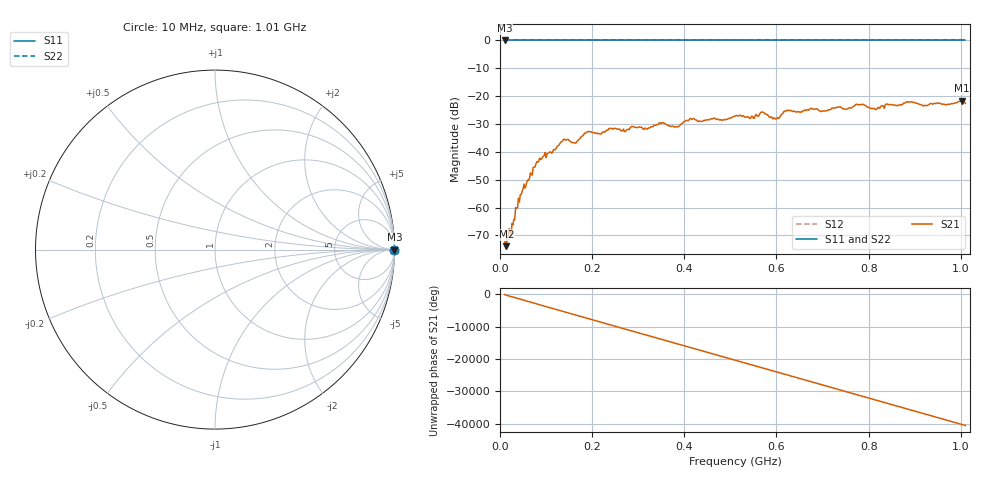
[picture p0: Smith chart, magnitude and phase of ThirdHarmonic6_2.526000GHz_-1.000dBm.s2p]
! 8/17/2025 5:00:31 AM
! C:\ANRITSUVNA\TEMP\TEMP.S2P
! CHANNEL.1
! TR.MEASUREMENT
! RAW.DATA
! RF.CORRECTION.OFF
! AVERAGING.OFF
! IF.BANDWIDTH: 5KHZ
! SWEEPTYPE:  FREQ.SWEEP(Linear)
! Reference Plane Port Info
! PORT:  PORT1  PORT2
! DISTANCE:  0  m  0  m
! TIME:  0  s  0  s
! PHASE.OFFSET:  0  deg.  0  deg.
! LOSS:  0  dB  0  dB
! REF.LOSS:  0  dB  0  dB
! REF.FREQ:  0  Hz  0  Hz
! Power Info
! POWER:  -20  dBm  -20  dBm
! EFF.POWER:  -20  dBm  -20  dBm
! SOURCE.ATTEN:  0  dB  0  dB
! TEST.ATTEN:  0  dB  0  dB
# GHZ S RI R 50.0
! FREQ.GHZ  S11RE  S11IM  S21RE  S21IM  S12RE  S12IM  S22RE  S22IM
!; PortSelection: Port_12
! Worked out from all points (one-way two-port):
!   501 points, 10 MHz to 1.01 GHz, reference 50 ohm
!   highest |S21| = -21.64 dB at 1.002 GHz (marker M1); lowest = -73.9 dB at 14 MHz (marker M2)
!   lowest |S11| = 0.0 dB at 10 MHz (marker M3)
!   |S11| at or under -10 dB: nowhere
!   |S22| runs from 0.0 to 0.0 dB; largest |S21 - S12| = 1.1
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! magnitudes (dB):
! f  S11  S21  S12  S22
! 10 MHz  0.0  -72.4  0.0  0.0
! 14 MHz  0.0  -73.9  0.0  0.0
! 28 MHz  0.0  -66.3  0.0  0.0
! 48 MHz  0.0  -54.1  0.0  0.0
! 82 MHz  0.0  -43.7  0.0  0.0
! 136 MHz  0.0  -36.1  0.0  0.0
! 162 MHz  0.0  -36.8  0.0  0.0
! 178 MHz  0.0  -34.4  0.0  0.0
! 344 MHz  0.0  -30.1  0.0  0.0
! 382 MHz  0.0  -30.9  0.0  0.0
! 416 MHz  0.0  -28.4  0.0  0.0
! 510 MHz  0.0  -27.2  0.0  0.0
! 548 MHz  0.0  -27.3  0.0  0.0
! 570 MHz  0.0  -25.7  0.0  0.0
! 602 MHz  0.0  -27.7  0.0  0.0
! 620 MHz  0.0  -25.4  0.0  0.0
! 678 MHz  0.0  -24.6  0.0  0.0
! 776 MHz  0.0  -23.0  0.0  0.0
! 814 MHz  0.0  -24.6  0.0  0.0
! 844 MHz  0.0  -23.1  0.0  0.0
! 1.002 GHz  0.0  -21.6  0.0  0.0
! 1.01 GHz  0.0  -22.6  0.0  0.0
